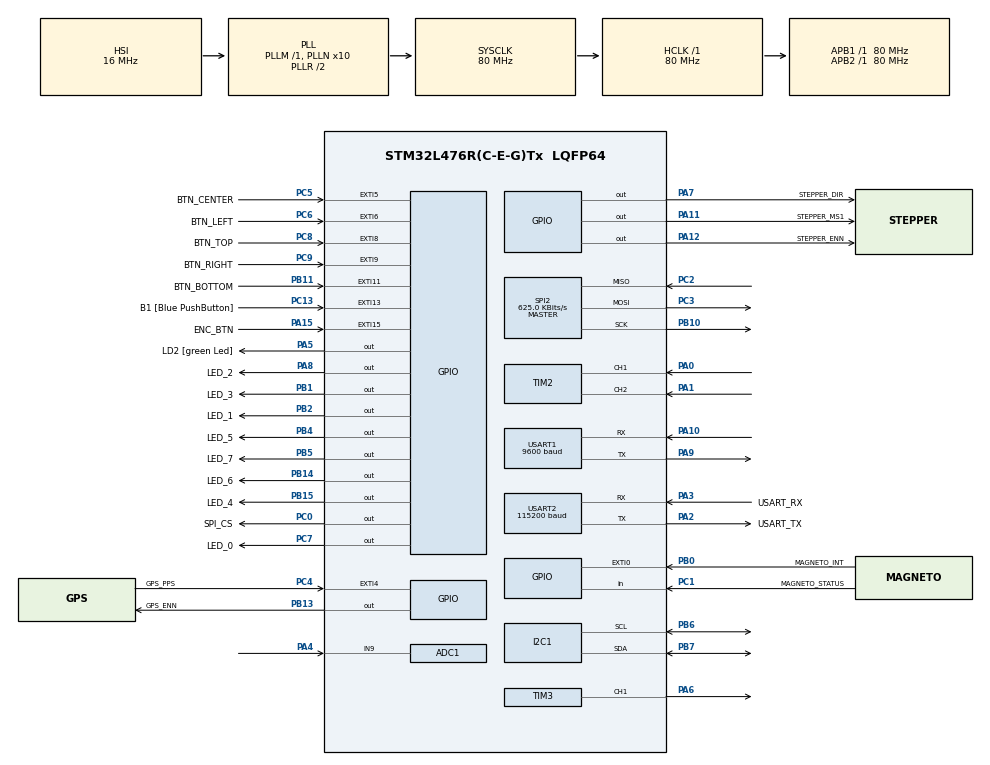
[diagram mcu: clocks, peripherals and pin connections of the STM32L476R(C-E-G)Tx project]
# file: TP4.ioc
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ADC1.Channel-2\#ChannelRegularConversion=ADC_CHANNEL_9
ADC1.ContinuousConvMode=DISABLE
ADC1.ExternalTrigConv=ADC_EXTERNALTRIG_T4_TRGO
ADC1.NbrOfConversionFlag=1
ADC1.OffsetNumber-2\#ChannelRegularConversion=ADC_OFFSET_NONE
ADC1.Rank-2\#ChannelRegularConversion=1
ADC1.SamplingTime-2\#ChannelRegularConversion=ADC_SAMPLETIME_2CYCLES_5
ADC1.master=1
I2C1.Timing=0x10D19CE4
Mcu.Family=STM32L4
Mcu.Name=STM32L476R(C-E-G)Tx
Mcu.Package=LQFP64
NVIC.ADC1_2_IRQn=true\:0\:0\:false\:false\:true\:true\:true\:true
NVIC.EXTI15_10_IRQn=true\:0\:0\:false\:false\:true\:true\:true\:true
NVIC.PriorityGroup=NVIC_PRIORITYGROUP_4
NVIC.TIM4_IRQn=true\:0\:0\:false\:false\:true\:true\:true\:true
NVIC.TIM6_DAC_IRQn=true\:15\:0\:false\:false\:true\:false\:true\:true
NVIC.TimeBase=TIM6_DAC_IRQn
NVIC.TimeBaseIP=TIM6
PA0.Signal=S_TIM2_CH1
PA1.Signal=S_TIM2_CH2
PA10.Mode=Asynchronous
PA10.Signal=USART1_RX
PA11.GPIO_Label=STEPPER_MS1
PA11.Signal=GPIO_Output
PA12.GPIO_Label=STEPPER_ENN
PA12.PinState=GPIO_PIN_SET
PA12.Signal=GPIO_Output
PA13\ (JTMS-SWDIO).GPIO_Label=TMS
PA13\ (JTMS-SWDIO).Mode=Trace_Asynchronous_SW
PA13\ (JTMS-SWDIO).Signal=SYS_JTMS-SWDIO
PA14\ (JTCK-SWCLK).GPIO_Label=TCK
PA14\ (JTCK-SWCLK).Mode=Trace_Asynchronous_SW
PA14\ (JTCK-SWCLK).Signal=SYS_JTCK-SWCLK
PA15\ (JTDI).GPIO_Label=ENC_BTN
PA15\ (JTDI).Signal=GPXTI15
PA2.GPIO_Label=USART_TX
PA2.GPIO_Mode=GPIO_MODE_AF_PP
PA2.GPIO_PuPd=GPIO_NOPULL
PA2.GPIO_Speed=GPIO_SPEED_FREQ_VERY_HIGH
PA2.Mode=Asynchronous
PA2.Signal=USART2_TX
PA3.GPIO_Label=USART_RX
PA3.GPIO_Mode=GPIO_MODE_AF_PP
PA3.GPIO_PuPd=GPIO_NOPULL
PA3.GPIO_Speed=GPIO_SPEED_FREQ_VERY_HIGH
PA3.Mode=Asynchronous
PA3.Signal=USART2_RX
PA4.Signal=ADCx_IN9
PA5.GPIO_Label=LD2 [green Led]
PA5.GPIO_ModeDefaultOutputPP=GPIO_MODE_OUTPUT_PP
PA5.GPIO_PuPd=GPIO_NOPULL
PA5.GPIO_Speed=GPIO_SPEED_FREQ_LOW
PA5.Signal=GPIO_Output
PA6.Signal=S_TIM3_CH1
PA7.GPIO_Label=STEPPER_DIR
PA7.Signal=GPIO_Output
PA8.GPIO_Label=LED_2
PA8.Signal=GPIO_Output
PA9.Mode=Asynchronous
PA9.Signal=USART1_TX
PB0.GPIO_Label=MAGNETO_INT
PB0.Signal=GPXTI0
PB1.GPIO_Label=LED_3
PB1.Signal=GPIO_Output
PB10.Mode=Full_Duplex_Master
PB10.Signal=SPI2_SCK
PB11.GPIO_Label=BTN_BOTTOM
PB11.Signal=GPXTI11
PB13.GPIO_Label=GPS_ENN
PB13.Signal=GPIO_Output
PB14.GPIO_Label=LED_6
PB14.Signal=GPIO_Output
PB15.GPIO_Label=LED_4
PB15.Signal=GPIO_Output
PB2.GPIO_Label=LED_1
PB2.Signal=GPIO_Output
PB3\ (JTDO-TRACESWO).Mode=Trace_Asynchronous_SW
PB3\ (JTDO-TRACESWO).Signal=SYS_JTDO-SWO
PB4\ (NJTRST).GPIO_Label=LED_5
PB4\ (NJTRST).Signal=GPIO_Output
PB5.GPIO_Label=LED_7
PB5.Signal=GPIO_Output
PB6.Mode=I2C
PB6.Signal=I2C1_SCL
PB7.Mode=I2C
PB7.Signal=I2C1_SDA
PC0.GPIO_Label=SPI_CS
PC0.PinState=GPIO_PIN_SET
PC0.Signal=GPIO_Output
PC1.GPIO_Label=MAGNETO_STATUS
PC1.Signal=GPIO_Input
PC13.GPIO_Label=B1 [Blue PushButton]
PC13.GPIO_ModeDefaultEXTI=GPIO_MODE_IT_FALLING
PC13.GPIO_PuPd=GPIO_NOPULL
PC13.Signal=GPXTI13
PC14-OSC32_IN\ (PC14).Mode=LSE-External-Oscillator
PC14-OSC32_IN\ (PC14).Signal=RCC_OSC32_IN
PC15-OSC32_OUT\ (PC15).Mode=LSE-External-Oscillator
PC15-OSC32_OUT\ (PC15).Signal=RCC_OSC32_OUT
PC2.Mode=Full_Duplex_Master
PC2.Signal=SPI2_MISO
PC3.Mode=Full_Duplex_Master
PC3.Signal=SPI2_MOSI
PC4.GPIO_Label=GPS_PPS
PC4.Signal=GPXTI4
PC5.GPIO_Label=BTN_CENTER
PC5.Signal=GPXTI5
PC6.GPIO_Label=BTN_LEFT
PC6.Signal=GPXTI6
PC7.GPIO_Label=LED_0
PC7.Signal=GPIO_Output
PC8.GPIO_Label=BTN_TOP
PC8.Signal=GPXTI8
PC9.GPIO_Label=BTN_RIGHT
PC9.Signal=GPXTI9
PH0-OSC_IN\ (PH0).Mode=HSE-External-Oscillator
PH0-OSC_IN\ (PH0).Signal=RCC_OSC_IN
PH1-OSC_OUT\ (PH1).Mode=HSE-External-Oscillator
PH1-OSC_OUT\ (PH1).Signal=RCC_OSC_OUT
ProjectManager.HeapSize=0x200
ProjectManager.StackSize=0x400
ProjectManager.TargetToolchain=STM32CubeIDE
RCC.ADCFreq_Value=64000000
RCC.AHBFreq_Value=80000000
RCC.APB1Freq_Value=80000000
RCC.APB1TimFreq_Value=80000000
RCC.APB2Freq_Value=80000000
RCC.APB2TimFreq_Value=80000000
RCC.CortexFreq_Value=80000000
RCC.HCLKFreq_Value=80000000
RCC.HSE_VALUE=8000000
RCC.HSI_VALUE=16000000
RCC.MSI_VALUE=4000000
RCC.PLLN=10
RCC.PLLSourceVirtual=RCC_PLLSOURCE_HSI
RCC.PREFETCH_ENABLE=1
RCC.SYSCLKFreq_VALUE=80000000
RCC.SYSCLKSource=RCC_SYSCLKSOURCE_PLLCLK
RCC.USBFreq_Value=64000000
RCC.VCOOutputFreq_Value=160000000
SH.ADCx_IN9.0=ADC1_IN9,IN9-Single-Ended
SH.S_TIM2_CH1.0=TIM2_CH1,Encoder_Interface
SH.S_TIM2_CH2.0=TIM2_CH2,Encoder_Interface
SH.S_TIM3_CH1.0=TIM3_CH1,PWM Generation1 CH1
SPI2.BaudRatePrescaler=SPI_BAUDRATEPRESCALER_128
SPI2.CalculateBaudRate=625.0 KBits/s
SPI2.DataSize=SPI_DATASIZE_8BIT
SPI2.Direction=SPI_DIRECTION_2LINES
SPI2.Mode=SPI_MODE_MASTER
SPI2.NSSPMode=SPI_NSS_PULSE_DISABLE
SPI2.VirtualType=VM_MASTER
TIM3.Channel-PWM\ Generation1\ CH1=TIM_CHANNEL_1
TIM3.Prescaler=79
TIM4.Period=9999
TIM4.Prescaler=79
TIM4.TIM_MasterOutputTrigger=TIM_TRGO_UPDATE
USART1.BaudRate=9600
USART1.VirtualMode-Asynchronous=VM_ASYNC
USART2.BaudRate=115200
USART2.VirtualMode-Asynchronous=VM_ASYNC
VP_SYS_VS_tim6.Mode=TIM6
VP_TIM3_VS_ClockSourceINT.Mode=Internal
VP_TIM4_VS_ClockSourceINT.Mode=Internal
board=NUCLEO-L476RG

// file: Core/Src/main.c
/* USER CODE BEGIN Header */
/**
  ******************************************************************************
  * @file           : main.c
  * @brief          : Main program body
  ******************************************************************************
  * @attention
  *
  * Copyright (c) 2024 STMicroelectronics.
  * All rights reserved.
  *
  * This software is licensed under terms that can be found in the LICENSE file
  * in the root directory of this software component.
  * If no LICENSE file comes with this software, it is provided AS-IS.
  *
  ******************************************************************************
  */
/* USER CODE END Header */
#include "main.h"
#include "adc.h"
#include "i2c.h"
#include "spi.h"
#include "tim.h"
#include "usart.h"
#include "gpio.h"

/* USER CODE BEGIN Includes */
void ssd1315_Draw_String(uint8_t X, uint8_t Y, char * s, FontDef_t * font);
/* USER CODE END Includes */

void SystemClock_Config(void);

/* USER CODE BEGIN 0 */
int __io_putchar(int ch)
{
HAL_UART_Transmit(&huart2, (uint8_t *)&ch, 1, HAL_MAX_DELAY);
return ch;
}
int __io_getchar(void)

{

uint8_t ch = 0;

__HAL_UART_CLEAR_OREFLAG(&huart2);

HAL_UART_Receive(&huart2, (uint8_t *)&ch, 1, HAL_MAX_DELAY);

HAL_UART_Transmit(&huart2, (uint8_t *)&ch, 1, HAL_MAX_DELAY);

return ch;

}
/* USER CODE END 0 */

int main(void)
{

  /* MCU Configuration--------------------------------------------------------*/

  /* Reset of all peripherals, Initializes the Flash interface and the Systick. */
  HAL_Init();

  /* Configure the system clock */
  SystemClock_Config();

  /* Initialize all configured peripherals */
  MX_GPIO_Init();
  MX_USART2_UART_Init();
  MX_I2C1_Init();
  MX_SPI2_Init();
  MX_TIM2_Init();
  MX_TIM3_Init();
  MX_USART1_UART_Init();
  MX_ADC1_Init();
  MX_TIM4_Init();

  /* Infinite loop */
  /* USER CODE BEGIN WHILE */
  ssd1315_Init();

  ssd1315_Clear(SSD1315_COLOR_BLACK);
  char buffer1[16]={0};
  char buffer2[16]={0};
  encoder_init(&htim2, -8, 8);
  init_stepper(&htim3,TIM_CHANNEL_1,
		  GPIOA,GPIO_PIN_7,
		  GPIOA,GPIO_PIN_11,
		  GPIOB,GPIO_PIN_12,
		  GPIOA,GPIO_PIN_12);

  while (1)
  {

	  int speed=encoder_read();
	  float a=get_speed();
	  snprintf(buffer1,16,"Speed : %d \n\r",speed);
	  snprintf(buffer2,16,"Speed en tour par seconde : %d",a);
	  ssd1315_Draw_String(0,0,buffer1,&Font_11x18);
	  ssd1315_Draw_String(0, 18, buffer2, &Font_11x18);
	  ssd1315_Refresh();
	  launch_stepper(speed);
    /* USER CODE END WHILE */

  }
}

void SystemClock_Config(void)
{
  RCC_OscInitTypeDef RCC_OscInitStruct = {0};
  RCC_ClkInitTypeDef RCC_ClkInitStruct = {0};

  /** Configure the main internal regulator output voltage
  */
  if (HAL_PWREx_ControlVoltageScaling(PWR_REGULATOR_VOLTAGE_SCALE1) != HAL_OK)
  {
    Error_Handler();
  }

  /** Initializes the RCC Oscillators according to the specified parameters
  * in the RCC_OscInitTypeDef structure.
  */
  RCC_OscInitStruct.OscillatorType = RCC_OSCILLATORTYPE_HSI;
  RCC_OscInitStruct.HSIState = RCC_HSI_ON;
  RCC_OscInitStruct.HSICalibrationValue = RCC_HSICALIBRATION_DEFAULT;
  RCC_OscInitStruct.PLL.PLLState = RCC_PLL_ON;
  RCC_OscInitStruct.PLL.PLLSource = RCC_PLLSOURCE_HSI;
  RCC_OscInitStruct.PLL.PLLM = 1;
  RCC_OscInitStruct.PLL.PLLN = 10;
  RCC_OscInitStruct.PLL.PLLP = RCC_PLLP_DIV7;
  RCC_OscInitStruct.PLL.PLLQ = RCC_PLLQ_DIV2;
  RCC_OscInitStruct.PLL.PLLR = RCC_PLLR_DIV2;
  if (HAL_RCC_OscConfig(&RCC_OscInitStruct) != HAL_OK)
  {
    Error_Handler();
  }

  /** Initializes the CPU, AHB and APB buses clocks
  */
  RCC_ClkInitStruct.ClockType = RCC_CLOCKTYPE_HCLK|RCC_CLOCKTYPE_SYSCLK
                              |RCC_CLOCKTYPE_PCLK1|RCC_CLOCKTYPE_PCLK2;
  RCC_ClkInitStruct.SYSCLKSource = RCC_SYSCLKSOURCE_PLLCLK;
  RCC_ClkInitStruct.AHBCLKDivider = RCC_SYSCLK_DIV1;
  RCC_ClkInitStruct.APB1CLKDivider = RCC_HCLK_DIV1;
  RCC_ClkInitStruct.APB2CLKDivider = RCC_HCLK_DIV1;

  if (HAL_RCC_ClockConfig(&RCC_ClkInitStruct, FLASH_LATENCY_4) != HAL_OK)
  {
    Error_Handler();
  }
}

void HAL_TIM_PeriodElapsedCallback(TIM_HandleTypeDef *htim)
{
  if (htim->Instance == TIM6) {
    HAL_IncTick();
  }
}

void Error_Handler(void)
{
  __disable_irq();
  while (1)
  {
  }
}
